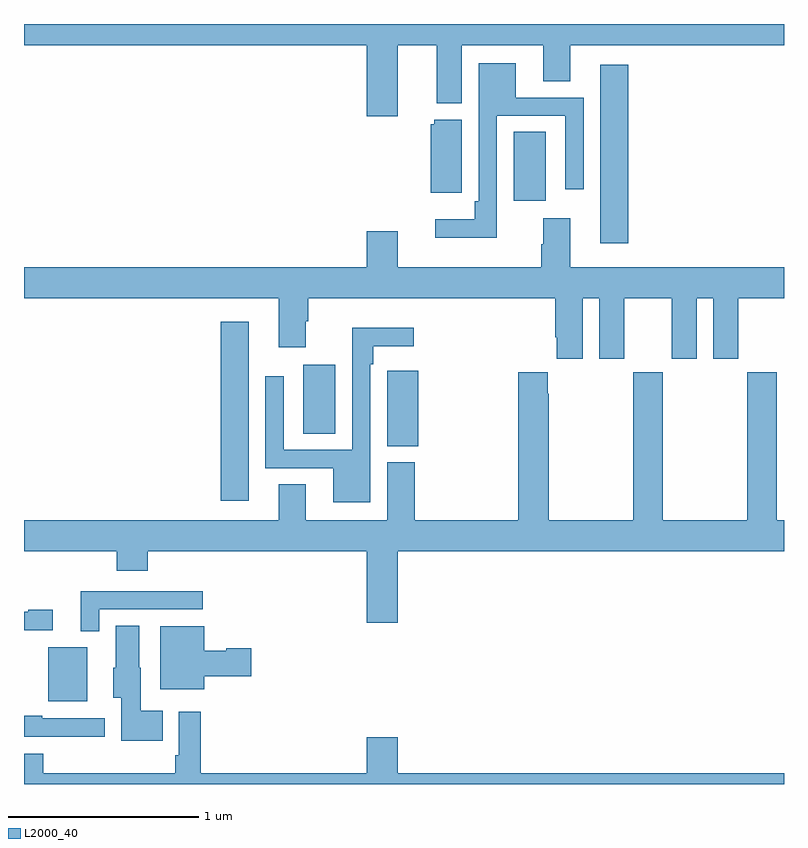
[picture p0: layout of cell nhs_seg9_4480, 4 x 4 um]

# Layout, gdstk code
import gdstk
lib = gdstk.Library(unit=1e-6, precision=1e-09)
def R(c, l, rs):  # rectangles x0, y0, x1, y1
    for r in rs: c.add(gdstk.rectangle(r[:2], r[2:], *l))
def P(c, l, *ps):  # polygons
    for p in ps: c.add(gdstk.Polygon(p, *l))
L2000_40 = (2000, 40)

nhs_seg9_4480 = lib.new_cell('nhs_seg9_4480')
R(nhs_seg9_4480, L2000_40, [(367.127,1224.935,367.333,1225.219), (368.036,1225.992,368.182,1226.932), (368.471,1226.344,368.638,1226.707), (370.034,1227.345,370.181,1228.285), (369.578,1227.57,369.745,1227.932)])
P(nhs_seg9_4480, L2000_40, [(368.968,1228.388),(369.173,1228.388),(369.173,1228.082),(369.304,1228.082),(369.304,1228.388),(369.734,1228.388),(369.734,1228.198),(369.874,1228.198),(369.874,1228.388),(371,1228.388),(371,1228.5),(367,1228.5),(367,1228.388),(368.804,1228.388),(368.804,1228.014),(368.968,1228.014)],
  [(369.489,1228.017),(369.849,1228.017),(369.849,1227.63),(369.945,1227.63),(369.945,1228.113),(369.589,1228.113),(369.589,1228.294),(369.393,1228.294),(369.393,1227.568),(369.373,1227.568),(369.373,1227.472),(369.165,1227.472),(369.165,1227.374),(369.489,1227.374)],
  [(369.304,1227.997),(369.159,1227.997),(369.159,1227.972),(369.14,1227.972),(369.14,1227.611),(369.304,1227.611)],
  [(369.94,1227.056),(370.028,1227.056),(370.028,1226.739),(370.159,1226.739),(370.159,1227.056),(370.409,1227.056),(370.409,1226.739),(370.54,1226.739),(370.54,1227.056),(370.628,1227.056),(370.628,1226.739),(370.759,1226.739),(370.759,1227.056),(371,1227.056),(371,1227.22),(369.874,1227.22),(369.874,1227.478),(369.734,1227.478),(369.734,1227.341),(369.722,1227.341),(369.722,1227.22),(368.968,1227.22),(368.968,1227.409),(368.804,1227.409),(368.804,1227.22),(367,1227.22),(367,1227.056),(368.342,1227.056),(368.342,1226.799),(368.482,1226.799),(368.482,1226.936),(368.495,1226.936),(368.495,1227.056),(369.797,1227.056),(369.797,1226.851),(369.803,1226.851),(369.803,1226.739),(369.94,1226.739)],
  [(368.823,1226.708),(368.839,1226.708),(368.839,1226.804),(369.052,1226.804),(369.052,1226.902),(368.727,1226.902),(368.727,1226.259),(368.367,1226.259),(368.367,1226.647),(368.271,1226.647),(368.271,1226.163),(368.627,1226.163),(368.627,1225.982),(368.823,1225.982)],
  [(369.074,1226.674),(368.913,1226.674),(368.913,1226.561),(368.912,1226.561),(368.912,1226.278),(369.074,1226.278)],
  [(368.968,1225.724),(371,1225.724),(371,1225.888),(370.962,1225.888),(370.962,1226.668),(370.807,1226.668),(370.807,1225.888),(370.362,1225.888),(370.362,1226.668),(370.207,1226.668),(370.207,1225.888),(369.762,1225.888),(369.762,1226.555),(369.757,1226.555),(369.757,1226.668),(369.602,1226.668),(369.602,1225.888),(369.056,1225.888),(369.056,1226.193),(368.912,1226.193),(368.912,1225.888),(368.482,1225.888),(368.482,1226.078),(368.342,1226.078),(368.342,1225.888),(367,1225.888),(367,1225.724),(367.487,1225.724),(367.487,1225.622),(367.652,1225.622),(367.652,1225.724),(368.804,1225.724),(368.804,1225.35),(368.968,1225.35)],
  [(367.395,1225.419),(367.942,1225.419),(367.942,1225.515),(367.298,1225.515),(367.298,1225.304),(367.395,1225.304)],
  [(367.15,1225.417),(367.022,1225.417),(367.022,1225.406),(367,1225.406),(367,1225.308),(367.15,1225.308)],
  [(367.73,1224.886),(367.615,1224.886),(367.615,1225.113),(367.606,1225.113),(367.606,1225.334),(367.484,1225.334),(367.484,1225.113),(367.469,1225.113),(367.469,1224.954),(367.511,1224.954),(367.511,1224.728),(367.73,1224.728)],
  [(367.948,1225.067),(368.197,1225.067),(368.197,1225.214),(368.064,1225.214),(368.064,1225.201),(367.948,1225.201),(367.948,1225.33),(367.718,1225.33),(367.718,1224.998),(367.948,1224.998)],
  [(371,1224.556),(368.968,1224.556),(368.968,1224.745),(368.804,1224.745),(368.804,1224.556),(367.931,1224.556),(367.931,1224.88),(367.815,1224.88),(367.815,1224.652),(367.795,1224.652),(367.795,1224.556),(367.1,1224.556),(367.1,1224.658),(367,1224.658),(367,1224.5),(371,1224.5)],
  [(367.426,1224.846),(367.096,1224.846),(367.096,1224.859),(367,1224.859),(367,1224.75),(367.183,1224.75),(367.183,1224.749),(367.426,1224.749)])

lib.write_gds('nhs_seg9_4480.gds')
